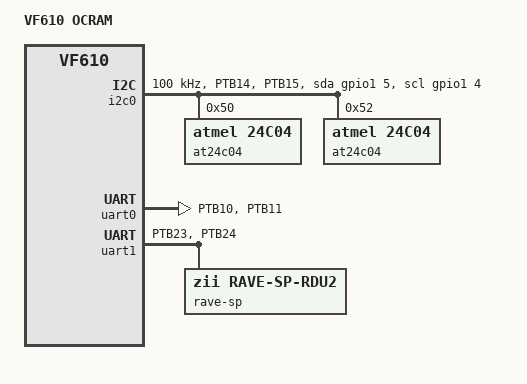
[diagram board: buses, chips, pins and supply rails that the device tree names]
/*
 * Copyright 2013 Freescale Semiconductor, Inc.
 *
 * This program is free software; you can redistribute it and/or modify
 * it under the terms of the GNU General Public License as published by
 * the Free Software Foundation; either version 2 of the License, or
 * (at your option) any later version.
 */

/dts-v1/;
#include <arm/vf610.dtsi>
#include "vf610-ddrmc.dtsi"

/ {
	model = "VF610 OCRAM";
	compatible = "fsl,vf610-ocram", "fsl,vf610";

	/* memory { */
	/* 	reg = <0x80000000 0x8000000>; */
	/* }; */
};

&iomuxc {
	vf610-ocram {
		pinctrl_uart0: uart0grp {
			fsl,pins = <
				VF610_PAD_PTB10__UART0_TX	0x21a2
				VF610_PAD_PTB11__UART0_RX	0x21a1
			>;
		};

		pinctrl_uart1: uart1grp {
			fsl,pins = <
				VF610_PAD_PTB23__UART1_TX	0x21a2
				VF610_PAD_PTB24__UART1_RX	0x21a1
			>;
		};

		pinctrl_i2c0: i2c0grp {
			fsl,pins = <
				VF610_PAD_PTB14__I2C0_SCL	0x37ff
				VF610_PAD_PTB15__I2C0_SDA	0x37ff
			>;
		};

		pinctrl_i2c0_gpio: i2c0grp-gpio {
			fsl,pins = <
				VF610_PAD_PTB14__GPIO_36	0x31c2
				VF610_PAD_PTB15__GPIO_37	0x31c2
			>;
		};
	};
};

&i2c0 {
	clock-frequency = <100000>;
	pinctrl-names = "default", "gpio";
	pinctrl-0 = <&pinctrl_i2c0>;
	pinctrl-1 = <&pinctrl_i2c0_gpio>;
	scl-gpios = <&gpio1 4 GPIO_ACTIVE_HIGH>;
	sda-gpios = <&gpio1 5 GPIO_ACTIVE_HIGH>;
	status = "okay";

	at24c04@50 {
		compatible = "atmel,24c04";
		reg = <0x50>;
	};

	at24c04@52 {
		compatible = "atmel,24c04";
		reg = <0x52>;
	};
};

&uart0 {
	pinctrl-names = "default";
	pinctrl-0 = <&pinctrl_uart0>;
	status = "okay";
};

&uart1 {
	pinctrl-names = "default";
	pinctrl-0 = <&pinctrl_uart1>;
	status = "okay";

	rave-sp {
		compatible = "zii,rave-sp-rdu2";
		current-speed = <1000000>;

		#address-cells = <1>;
		#size-cells = <1>;

		zii,initial-polling-window-ms = <500>;

		watchdog {
			compatible = "zii,rave-sp-watchdog";
		};
	};
};
